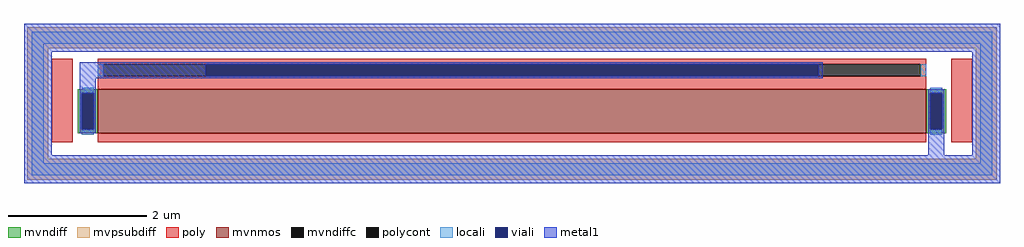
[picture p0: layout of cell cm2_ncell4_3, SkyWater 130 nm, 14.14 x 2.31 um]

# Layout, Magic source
magic
tech sky130A
magscale 1 2
<< mvpsubdiff >>
rect 1805 1933 4613 1993
rect 1805 1612 1865 1933
rect 4553 1612 4613 1933
rect 1805 1552 4613 1612
<< poly >>
rect 1876 1660 1936 1902
rect 4482 1660 4542 1902
<< locali >>
rect 4543 1980 4600 1981
rect 1818 1946 4600 1980
rect 1818 1599 1852 1946
rect 4566 1599 4600 1946
rect 1818 1565 4600 1599
rect 1818 1564 1875 1565
<< metal1 >>
rect 1795 1923 4623 2003
rect 1795 1622 1875 1923
rect 1957 1846 2310 1892
rect 1957 1814 2003 1846
rect 4415 1622 4461 1686
rect 4543 1622 4623 1923
rect 1795 1542 4623 1622
use sky130_fd_pr__nfet_g5v0d10v5_MLSP8N  sky130_fd_pr__nfet_g5v0d10v5_MLSP8N_0
transform 1 0 3209 0 1 1781
box -1258 -121 1258 121
<< end >>

# cell sky130_fd_pr__nfet_g5v0d10v5_MLSP8N: kit device sky130_fd_pr__nfet_g5v0d10v5, w 0.64 l 12 m 1 nf 1 diffcov 100 polycov 100 guard 0 glc 1 grc 1 gtc 1 gbc 1 tbcov 100 rlcov 100 topc 1 botc 0 poverlap 0 doverlap 1 lmin 0.50 wmin 0.42 compatible {sky130_fd_pr__nfet_01v8 sky130_fd_pr__nfet_01v8_lvt sky130_fd_bs_flash__special_sonosfet_star sky130_fd_pr__nfet_g5v0d10v5 sky130_fd_pr__nfet_05v0_nvt sky130_fd_pr__nfet_03v3_nvt} full_metal 1 viasrc 100 viadrn 100 viagate 75 viagb 0 viagr 0 viagl 0 viagt 0
